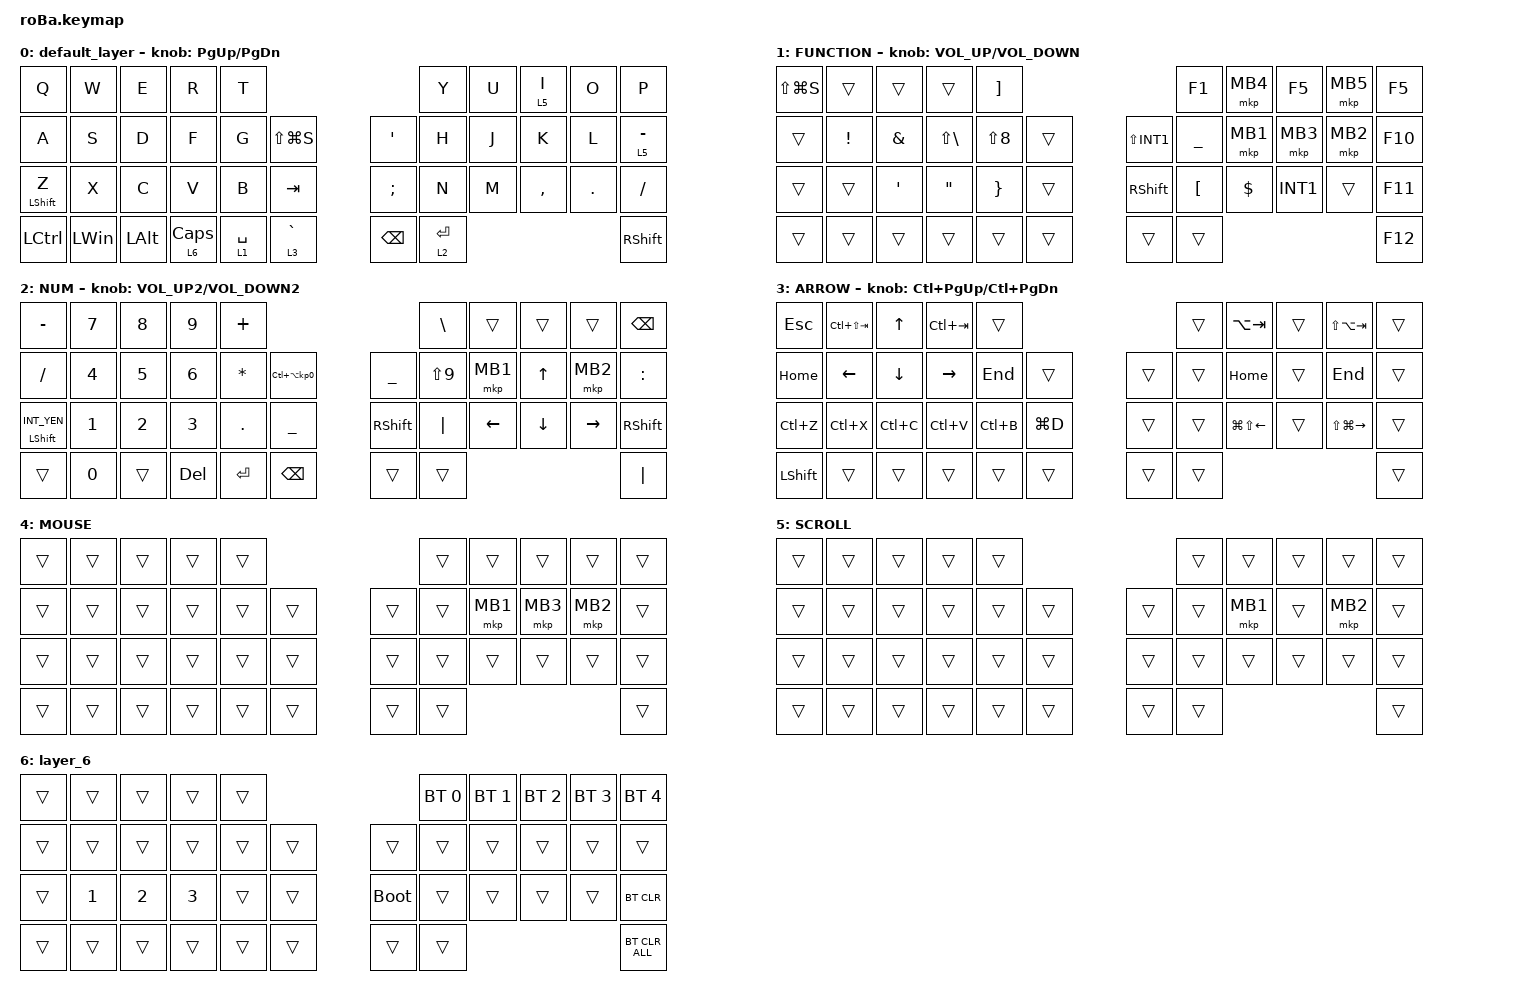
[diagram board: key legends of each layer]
#include <behaviors.dtsi>
#include <dt-bindings/zmk/bt.h>
#include <dt-bindings/zmk/keys.h>
#include <dt-bindings/zmk/pointing.h>

#define MOUSE 4
#define SCROLL 5
#define NUM 6

&mt {
    flavor = "balanced";
    quick-tap-ms = <0>;
};

/ {
    combos {
        compatible = "zmk,combos";

        tab {
            bindings = <&kp TAB>;
            key-positions = <11 12>;
        };

        shift_tab {
            bindings = <&kp LS(TAB)>;
            key-positions = <12 13>;
        };

        muhennkann {
            bindings = <&to_layer_0 INT_MUHENKAN>;
            key-positions = <11 10>;
        };

        double_quotation {
            bindings = <&kp DOUBLE_QUOTES>;
            key-positions = <20 21>;
        };

        eq {
            bindings = <&kp EQUAL>;
            key-positions = <24 25>;
        };
    };

    macros {
        to_layer_0: to_layer_0 {
            compatible = "zmk,behavior-macro-one-param";
            #binding-cells = <1>;
            bindings = <&to 0 &macro_param_1to1 &kp MACRO_PLACEHOLDER>;
            label = "TO_LAYER_0";
        };
    };

    behaviors {
        lt_to_layer_0: lt_to_layer_0 {
            compatible = "zmk,behavior-hold-tap";
            label = "LAYER_TAP_TO_0";
            bindings = <&mo>, <&to_layer_0>;

            #binding-cells = <2>;
            tapping-term-ms = <200>;
        };
    };

    keymap {
        compatible = "zmk,keymap";

        default_layer {
            bindings = <
&kp Q             &kp W         &kp E         &kp R                      &kp T                                                   &kp Y        &kp U  &lt 5 I    &kp O    &kp P
&kp A             &kp S         &kp D         &kp F                      &kp G        &kp LS(LG(S))               &kp SQT        &kp H        &kp J  &kp K      &kp L    &lt 5 MINUS
&mt LEFT_SHIFT Z  &kp X         &kp C         &kp V                      &kp B        &kp TAB                     &kp SEMICOLON  &kp N        &kp M  &kp COMMA  &kp DOT  &kp SLASH
&kp LCTRL         &kp LEFT_WIN  &kp LEFT_ALT  &lt_to_layer_0 6 CAPSLOCK  &lt 1 SPACE  &lt_to_layer_0 3 GRAVE      &kp BACKSPACE  &lt 2 ENTER                             &kp RIGHT_SHIFT
            >;

            sensor-bindings = <&inc_dec_kp PG_UP PAGE_DOWN>;
        };

        FUNCTION {
            bindings = <
&kp LS(LG(S))  &trans           &trans         &trans             &kp RIGHT_BRACKET                               &kp F1            &mkp MB4    &kp F5    &mkp MB5  &kp F5
&trans         &kp EXCLAMATION  &kp AMPERSAND  &kp LS(BACKSLASH)  &kp LS(NUMBER_8)   &trans      &kp LS(INT1)     &kp UNDERSCORE    &mkp MB1    &mkp MB3  &mkp MB2  &kp F10
&trans         &trans           &kp SQT        &kp DOUBLE_QUOTES  &kp RIGHT_BRACE    &trans      &kp RIGHT_SHIFT  &kp LEFT_BRACKET  &kp DOLLAR  &kp INT1  &trans    &kp F11
&trans         &trans           &trans         &trans             &trans             &trans      &trans           &trans                                            &kp F12
            >;

            sensor-bindings = <&inc_dec_kp K_VOLUME_UP K_VOLUME_DOWN>;
        };

        NUM {
            bindings = <
&kp MINUS               &kp NUMBER_7  &kp NUMBER_8  &kp NUMBER_9  &kp PLUS                                                    &kp BACKSLASH     &trans          &trans          &trans           &kp BACKSPACE
&kp SLASH               &kp NUMBER_4  &kp N5        &kp NUMBER_6  &kp ASTERISK  &kp LC(LA(KP_NUMBER_0))      &kp UNDERSCORE   &kp LS(NUMBER_9)  &mkp MB1        &kp UP_ARROW    &mkp MB2         &kp COLON
&mt LEFT_SHIFT INT_YEN  &kp NUMBER_1  &kp NUMBER_2  &kp NUMBER_3  &kp PERIOD    &kp UNDERSCORE               &kp RIGHT_SHIFT  &kp PIPE          &kp LEFT_ARROW  &kp DOWN_ARROW  &kp RIGHT_ARROW  &kp RSHIFT
&trans                  &kp N0        &trans        &kp DEL       &kp ENTER     &kp BACKSPACE                &trans           &trans                                                             &kp PIPE
            >;

            sensor-bindings = <&inc_dec_kp K_VOLUME_UP2 K_VOLUME_DOWN2>;
        };

        ARROW {
            bindings = <
&kp ESCAPE      &kp LC(LS(TAB))  &kp UP_ARROW    &kp LC(TAB)      &trans                            &trans  &kp LA(TAB)             &trans  &kp LS(LA(TAB))          &trans
&kp HOME        &kp LEFT_ARROW   &kp DOWN_ARROW  &kp RIGHT_ARROW  &kp END    &trans         &trans  &trans  &kp HOME                &trans  &kp END                  &trans
&kp LC(Z)       &kp LC(X)        &kp LC(C)       &kp LC(V)        &kp LC(B)  &kp LG(D)      &trans  &trans  &kp LG(LS(LEFT_ARROW))  &trans  &kp LS(LG(RIGHT_ARROW))  &trans
&kp LEFT_SHIFT  &trans           &trans          &trans           &trans     &trans         &trans  &trans                                                           &trans
            >;

            sensor-bindings = <&inc_dec_kp LC(PAGE_UP) LC(PAGE_DOWN)>;
        };

        MOUSE {
            bindings = <
&trans  &trans  &trans  &trans  &trans                      &trans  &trans    &trans    &trans    &trans
&trans  &trans  &trans  &trans  &trans  &trans      &trans  &trans  &mkp MB1  &mkp MB3  &mkp MB2  &trans
&trans  &trans  &trans  &trans  &trans  &trans      &trans  &trans  &trans    &trans    &trans    &trans
&trans  &trans  &trans  &trans  &trans  &trans      &trans  &trans                                &trans
            >;
        };

        SCROLL {
            bindings = <
&trans  &trans  &trans  &trans  &trans                      &trans  &trans    &trans  &trans    &trans
&trans  &trans  &trans  &trans  &trans  &trans      &trans  &trans  &mkp MB1  &trans  &mkp MB2  &trans
&trans  &trans  &trans  &trans  &trans  &trans      &trans  &trans  &trans    &trans  &trans    &trans
&trans  &trans  &trans  &trans  &trans  &trans      &trans  &trans                              &trans
            >;
        };

        layer_6 {
            bindings = <
&trans  &trans        &trans        &trans        &trans                           &bt BT_SEL 0  &bt BT_SEL 1  &bt BT_SEL 2  &bt BT_SEL 3  &bt BT_SEL 4
&trans  &trans        &trans        &trans        &trans  &trans      &trans       &trans        &trans        &trans        &trans        &trans
&trans  &kp NUMBER_1  &kp NUMBER_2  &kp NUMBER_3  &trans  &trans      &bootloader  &trans        &trans        &trans        &trans        &bt BT_CLR
&trans  &trans        &trans        &trans        &trans  &trans      &trans       &trans                                                  &bt BT_CLR_ALL
            >;
        };
    };
};
